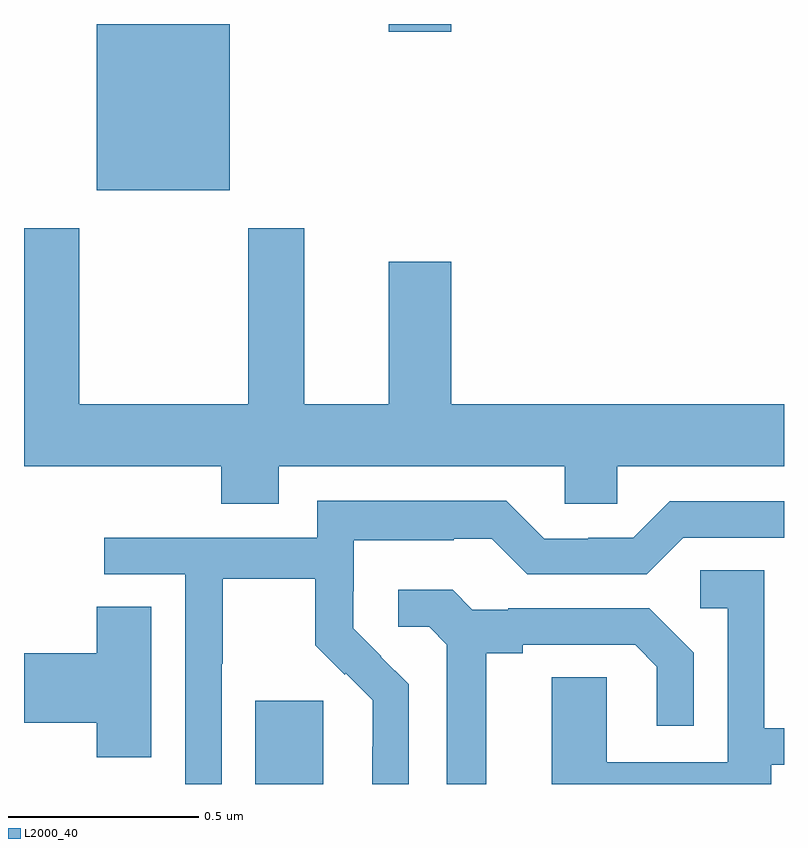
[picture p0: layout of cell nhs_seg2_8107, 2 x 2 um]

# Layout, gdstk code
import gdstk
lib = gdstk.Library(unit=1e-6, precision=1e-09)
def R(c, l, rs):  # rectangles x0, y0, x1, y1
    for r in rs: c.add(gdstk.rectangle(r[:2], r[2:], *l))
def P(c, l, *ps):  # polygons
    for p in ps: c.add(gdstk.Polygon(p, *l))
L2000_40 = (2000, 40)

nhs_seg2_8107 = lib.new_cell('nhs_seg2_8107')
R(nhs_seg2_8107, L2000_40, [(212.609,646.8,212.788,647.019), (212.192,648.362,212.542,648.8), (212.96,648.78,213.124,648.8)])
P(nhs_seg2_8107, L2000_40, [(212.671,647.636),(213.423,647.636),(213.423,647.538),(213.561,647.538),(213.561,647.636),(214,647.636),(214,647.8),(213.124,647.8),(213.124,648.175),(212.96,648.175),(212.96,647.8),(212.737,647.8),(212.737,648.262),(212.59,648.262),(212.59,647.8),(212.145,647.8),(212.145,648.262),(212,648.262),(212,647.636),(212.519,647.636),(212.519,647.537),(212.671,647.537)],
  [(212.52,647.116),(212.523,647.116),(212.523,647.34),(212.767,647.34),(212.767,647.165),(212.844,647.088),(212.847,647.091),(212.918,647.021),(212.918,646.898),(212.916,646.898),(212.916,646.8),(213.012,646.8),(213.012,647.062),(212.939,647.135),(212.94,647.136),(212.866,647.21),(212.866,647.307),(212.868,647.307),(212.868,647.441),(213.131,647.441),(213.131,647.445),(213.231,647.445),(213.324,647.352),(213.639,647.352),(213.735,647.448),(214,647.448),(214,647.544),(213.699,647.544),(213.603,647.448),(213.485,647.448),(213.485,647.445),(213.369,647.445),(213.269,647.545),(212.772,647.545),(212.772,647.448),(212.211,647.448),(212.211,647.352),(212.424,647.352),(212.424,646.8),(212.52,646.8)],
  [(213.967,646.851),(214,646.851),(214,646.947),(213.948,646.947),(213.948,647.363),(213.78,647.363),(213.78,647.262),(213.852,647.262),(213.852,646.857),(213.534,646.857),(213.534,647.081),(213.389,647.081),(213.389,646.8),(213.967,646.8)],
  [(213.217,647.144),(213.313,647.144),(213.313,647.166),(213.608,647.166),(213.665,647.109),(213.665,646.953),(213.762,646.953),(213.762,647.146),(213.646,647.262),(213.274,647.262),(213.274,647.259),(213.18,647.259),(213.128,647.311),(212.985,647.311),(212.985,647.214),(213.066,647.214),(213.113,647.167),(213.113,646.8),(213.217,646.8)],
  [(212.335,647.267),(212.192,647.267),(212.192,647.144),(212,647.144),(212,646.961),(212.192,646.961),(212.192,646.87),(212.335,646.87)])

lib.write_gds('nhs_seg2_8107.gds')
